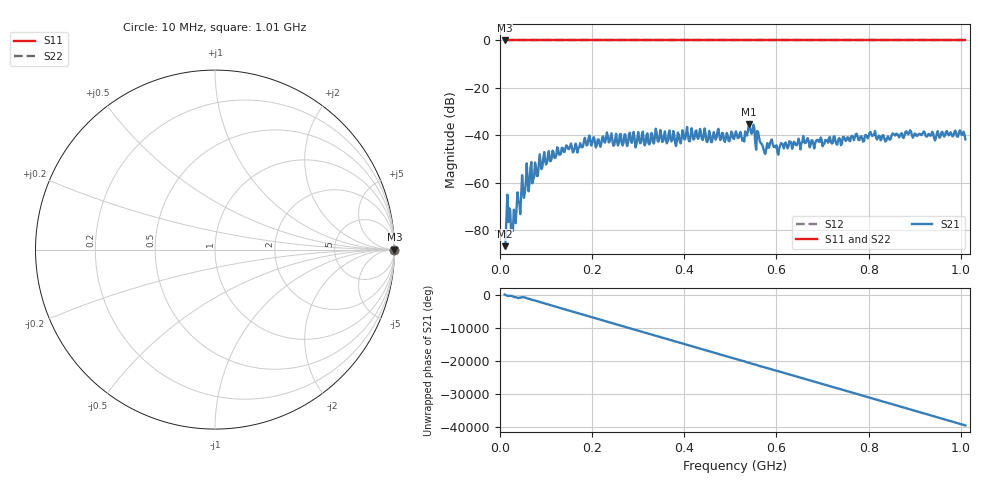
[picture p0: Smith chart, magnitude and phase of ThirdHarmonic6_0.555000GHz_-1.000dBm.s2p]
! 8/15/2025 5:38:17 PM
! C:\ANRITSUVNA\TEMP\TEMP.S2P
! CHANNEL.1
! TR.MEASUREMENT
! RAW.DATA
! RF.CORRECTION.OFF
! AVERAGING.OFF
! IF.BANDWIDTH: 5KHZ
! SWEEPTYPE:  FREQ.SWEEP(Linear)
! Reference Plane Port Info
! PORT:  PORT1  PORT2
! DISTANCE:  0  m  0  m
! TIME:  0  s  0  s
! PHASE.OFFSET:  0  deg.  0  deg.
! LOSS:  0  dB  0  dB
! REF.LOSS:  0  dB  0  dB
! REF.FREQ:  0  Hz  0  Hz
! Power Info
! POWER:  -20  dBm  -20  dBm
! EFF.POWER:  -20  dBm  -20  dBm
! SOURCE.ATTEN:  0  dB  0  dB
! TEST.ATTEN:  0  dB  0  dB
# GHZ S RI R 50.0
! FREQ.GHZ  S11RE  S11IM  S21RE  S21IM  S12RE  S12IM  S22RE  S22IM
!; PortSelection: Port_12
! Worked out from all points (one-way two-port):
!   501 points, 10 MHz to 1.01 GHz, reference 50 ohm
!   highest |S21| = -35.15 dB at 540 MHz (marker M1); lowest = -86.6 dB at 10 MHz (marker M2)
!   lowest |S11| = 0.0 dB at 10 MHz (marker M3)
!   |S11| at or under -10 dB: nowhere
!   |S22| runs from 0.0 to 0.0 dB; largest |S21 - S12| = 1
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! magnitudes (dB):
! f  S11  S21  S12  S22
! 10 MHz  0.0  -86.6  0.0  0.0
! 18 MHz  0.0  -76.5  0.0  0.0
! 22 MHz  0.0  -71.3  0.0  0.0
! 28 MHz  0.0  -80.2  0.0  0.0
! 34 MHz  0.0  -76.9  0.0  0.0
! 62 MHz  0.0  -63.5  0.0  0.0
! 90 MHz  0.0  -54.2  0.0  0.0
! 178 MHz  0.0  -45.0  0.0  0.0
! 344 MHz  0.0  -42.6  0.0  0.0
! 510 MHz  0.0  -39.8  0.0  0.0
! 530 MHz  0.0  -42.5  0.0  0.0
! 540 MHz  0.0  -35.1  0.0  0.0
! 562 MHz  0.0  -40.6  0.0  0.0
! 574 MHz  0.0  -47.4  0.0  0.0
! 588 MHz  0.0  -42.2  0.0  0.0
! 602 MHz  0.0  -46.9  0.0  0.0
! 662 MHz  0.0  -43.3  0.0  0.0
! 678 MHz  0.0  -42.1  0.0  0.0
! 806 MHz  0.0  -39.6  0.0  0.0
! 844 MHz  0.0  -41.4  0.0  0.0
! 886 MHz  0.0  -39.5  0.0  0.0
! 1.01 GHz  0.0  -41.6  0.0  0.0
